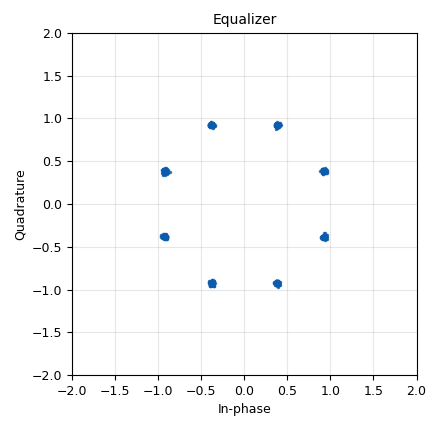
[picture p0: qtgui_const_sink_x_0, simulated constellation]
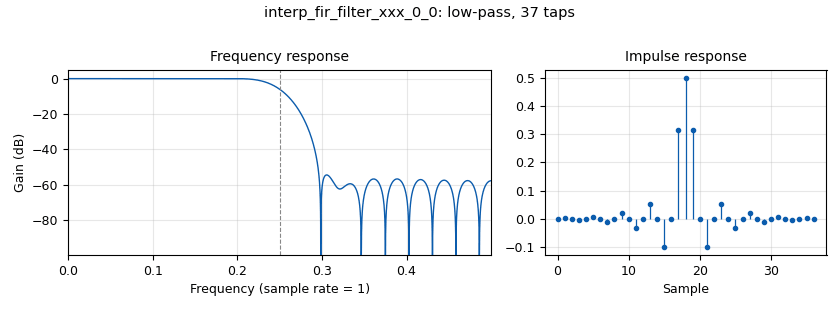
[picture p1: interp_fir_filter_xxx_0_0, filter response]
<?xml version='1.0' encoding='utf-8'?>
<?grc format='1' created='3.7.12'?>
<flow_graph>
<block>
<key>options</key>
<param><key>id</key><value>watterson_model</value></param>
<param><key>author</key><value>Garrett Vanhoy, Noel Teku</value></param>
<param><key>generate_options</key><value>qt_gui</value></param>
<param><key>title</key><value>Watterson Channel Model</value></param>
</block>
<block>
<key>variable_constellation</key>
<param><key>id</key><value>const</value></param>
<param><key>type</key><value>8psk</value></param>
<param><key>precision</key><value>8</value></param>
</block>
<block>
<key>variable</key>
<param><key>id</key><value>samp_rate</value></param>
<param><key>value</key><value>1000</value></param>
</block>
<block>
<key>analog_fastnoise_source_x</key>
<param><key>id</key><value>analog_fastnoise_source_x_0_0</value></param>
<param><key>amp</key><value>1</value></param>
<param><key>_enabled</key><value>0</value></param>
<param><key>noise_type</key><value>analog.GR_GAUSSIAN</value></param>
<param><key>type</key><value>complex</value></param>
<param><key>seed</key><value>0</value></param>
<param><key>samples</key><value>8192</value></param>
</block>
<block>
<key>analog_random_source_x</key>
<param><key>id</key><value>analog_random_source_x_0</value></param>
<param><key>_enabled</key><value>0</value></param>
<param><key>max</key><value>2</value></param>
<param><key>min</key><value>0</value></param>
<param><key>num_samps</key><value>1000</value></param>
<param><key>type</key><value>int</value></param>
<param><key>repeat</key><value>True</value></param>
</block>
<block>
<key>analog_random_source_x</key>
<param><key>id</key><value>analog_random_source_x_1</value></param>
<param><key>max</key><value>const.arity()</value></param>
<param><key>min</key><value>0</value></param>
<param><key>num_samps</key><value>1000</value></param>
<param><key>type</key><value>byte</value></param>
<param><key>repeat</key><value>True</value></param>
</block>
<block>
<key>analog_sig_source_x</key>
<param><key>id</key><value>analog_sig_source_x_0</value></param>
<param><key>amp</key><value>1</value></param>
<param><key>_enabled</key><value>0</value></param>
<param><key>freq</key><value>0</value></param>
<param><key>offset</key><value>0</value></param>
<param><key>type</key><value>complex</value></param>
<param><key>samp_rate</key><value>samp_rate</value></param>
<param><key>waveform</key><value>analog.GR_CONST_WAVE</value></param>
</block>
<block>
<key>blocks_stream_to_tagged_stream</key>
<param><key>id</key><value>blocks_stream_to_tagged_stream_0</value></param>
<param><key>_enabled</key><value>0</value></param>
<param><key>len_tag_key</key><value>"packet_len"</value></param>
<param><key>type</key><value>complex</value></param>
</block>
<block>
<key>blocks_stream_to_tagged_stream</key>
<param><key>id</key><value>blocks_stream_to_tagged_stream_1</value></param>
<param><key>len_tag_key</key><value>"packet_len"</value></param>
<param><key>packet_len</key><value>10</value></param>
<param><key>type</key><value>complex</value></param>
</block>
<block>
<key>channels_channel_model</key>
<param><key>id</key><value>channels_channel_model_0</value></param>
<param><key>epsilon</key><value>1.0</value></param>
<param><key>freq_offset</key><value>0.0</value></param>
<param><key>noise_voltage</key><value>0.01</value></param>
<param><key>seed</key><value>0</value></param>
<param><key>taps</key><value>1 + 1j</value></param>
</block>
<block>
<key>digital_chunks_to_symbols_xx</key>
<param><key>id</key><value>digital_chunks_to_symbols_xx_0</value></param>
<param><key>dimension</key><value>2</value></param>
<param><key>_enabled</key><value>0</value></param>
<param><key>in_type</key><value>int</value></param>
<param><key>out_type</key><value>complex</value></param>
</block>
<block>
<key>digital_chunks_to_symbols_xx</key>
<param><key>id</key><value>digital_chunks_to_symbols_xx_1</value></param>
<param><key>dimension</key><value>1</value></param>
<param><key>in_type</key><value>byte</value></param>
<param><key>out_type</key><value>complex</value></param>
<param><key>symbol_table</key><value>const.points()</value></param>
</block>
<block>
<key>digital_cma_equalizer_cc</key>
<param><key>id</key><value>digital_cma_equalizer_cc_0</value></param>
<param><key>_enabled</key><value>0</value></param>
<param><key>mu</key><value></value></param>
<param><key>modulus</key><value></value></param>
<param><key>num_taps</key><value></value></param>
<param><key>sps</key><value></value></param>
</block>
<block>
<key>digital_lms_dd_equalizer_cc</key>
<param><key>id</key><value>digital_lms_dd_equalizer_cc_0</value></param>
<param><key>cnst</key><value></value></param>
<param><key>_enabled</key><value>0</value></param>
<param><key>mu</key><value></value></param>
<param><key>num_taps</key><value></value></param>
<param><key>sps</key><value></value></param>
</block>
<block>
<key>digital_lms_dd_equalizer_cc</key>
<param><key>id</key><value>digital_lms_dd_equalizer_cc_1</value></param>
<param><key>cnst</key><value>const</value></param>
<param><key>mu</key><value>1</value></param>
<param><key>num_taps</key><value>2</value></param>
<param><key>sps</key><value>2</value></param>
</block>
<block>
<key>parameter</key>
<param><key>id</key><value>fj</value></param>
<param><key>label</key><value>Doppler Spread</value></param>
<param><key>value</key><value>100</value></param>
</block>
<block>
<key>import</key>
<param><key>id</key><value>import</value></param>
<param><key>import</key><value>import numpy as np</value></param>
</block>
<block>
<key>interp_fir_filter_xxx</key>
<param><key>id</key><value>interp_fir_filter_xxx_0</value></param>
<param><key>_enabled</key><value>0</value></param>
<param><key>interp</key><value>1</value></param>
<param><key>taps</key><value>[
0.673825,
0.684442,
0.695007,
0.705512,
0.71595,
0.726312,
0.736592,
0.746782,
0.756873,
0.766859,
0.77673,
0.786481,
0.796103,
0.805587,
0.814928,
0.824116,
0.833144,
0.842006,
0.850693,
0.859199,
0.867515,
0.875636,
0.883553,
0.89126,
0.898751,
0.906018,
0.913056,
0.919858,
0.926418,
0.93273,
0.938788,
0.944588,
0.950123,
0.955389,
0.96038,
0.965093,
0.969523,
0.973666,
0.977517,
0.981074,
0.984333,
0.98729,
0.989944,
0.992292,
0.994331,
0.99606,
0.997477,
0.99858,
0.999369,
0.999842,
1.0,
0.999842,
0.999369,
0.99858,
0.997477,
0.99606,
0.994331,
0.992292,
0.989944,
0.98729,
0.984333,
0.981074,
0.977517,
0.973666,
0.969523,
0.965093,
0.96038,
0.955389,
0.950123,
0.944588,
0.938788,
0.93273,
0.926418,
0.919858,
0.913056,
0.906018,
0.898751,
0.89126,
0.883553,
0.875636,
0.867515,
0.859199,
0.850693,
0.842006,
0.833144,
0.824116,
0.814928,
0.805587,
0.796103,
0.786481,
0.77673,
0.766859,
0.756873,
0.746782,
0.736592,
0.726312,
0.71595,
0.705512,
0.695007,
0.684442,
]</value></param>
<param><key>type</key><value>ccc</value></param>
</block>
<block>
<key>interp_fir_filter_xxx</key>
<param><key>id</key><value>interp_fir_filter_xxx_0_0</value></param>
<param><key>interp</key><value>2</value></param>
<param><key>taps</key><value>firdes.low_pass_2(1, 1, .25, .1, 80)</value></param>
<param><key>type</key><value>ccc</value></param>
</block>
<block>
<key>qtgui_const_sink_x</key>
<param><key>id</key><value>qtgui_const_sink_x_0</value></param>
<param><key>name</key><value>"Equalizer"</value></param>
<param><key>size</key><value>1024</value></param>
<param><key>type</key><value>complex</value></param>
</block>
<block>
<key>qtgui_freq_sink_x</key>
<param><key>id</key><value>qtgui_freq_sink_x_0</value></param>
<param><key>bw</key><value>samp_rate</value></param>
<param><key>fc</key><value>0</value></param>
<param><key>_enabled</key><value>0</value></param>
<param><key>fftsize</key><value>1024</value></param>
<param><key>showports</key><value>True</value></param>
<param><key>type</key><value>complex</value></param>
<param><key>wintype</key><value>firdes.WIN_BLACKMAN_hARRIS</value></param>
</block>
<connection><source_block_id>analog_fastnoise_source_x_0_0</source_block_id><sink_block_id>interp_fir_filter_xxx_0</sink_block_id><source_key>0</source_key><sink_key>0</sink_key></connection>
<connection><source_block_id>analog_random_source_x_0</source_block_id><sink_block_id>digital_chunks_to_symbols_xx_0</sink_block_id><source_key>0</source_key><sink_key>0</sink_key></connection>
<connection><source_block_id>analog_random_source_x_1</source_block_id><sink_block_id>digital_chunks_to_symbols_xx_1</sink_block_id><source_key>0</source_key><sink_key>0</sink_key></connection>
<connection><source_block_id>analog_sig_source_x_0</source_block_id><sink_block_id>interp_fir_filter_xxx_0</sink_block_id><source_key>0</source_key><sink_key>0</sink_key></connection>
<connection><source_block_id>blocks_stream_to_tagged_stream_0</source_block_id><sink_block_id>interp_fir_filter_xxx_0</sink_block_id><source_key>0</source_key><sink_key>0</sink_key></connection>
<connection><source_block_id>blocks_stream_to_tagged_stream_1</source_block_id><sink_block_id>interp_fir_filter_xxx_0_0</sink_block_id><source_key>0</source_key><sink_key>0</sink_key></connection>
<connection><source_block_id>channels_channel_model_0</source_block_id><sink_block_id>digital_lms_dd_equalizer_cc_1</sink_block_id><source_key>0</source_key><sink_key>0</sink_key></connection>
<connection><source_block_id>digital_chunks_to_symbols_xx_0</source_block_id><sink_block_id>blocks_stream_to_tagged_stream_0</sink_block_id><source_key>0</source_key><sink_key>0</sink_key></connection>
<connection><source_block_id>digital_chunks_to_symbols_xx_1</source_block_id><sink_block_id>blocks_stream_to_tagged_stream_1</sink_block_id><source_key>0</source_key><sink_key>0</sink_key></connection>
<connection><source_block_id>digital_lms_dd_equalizer_cc_1</source_block_id><sink_block_id>qtgui_const_sink_x_0</sink_block_id><source_key>0</source_key><sink_key>0</sink_key></connection>
<connection><source_block_id>interp_fir_filter_xxx_0</source_block_id><sink_block_id>digital_lms_dd_equalizer_cc_0</sink_block_id><source_key>0</source_key><sink_key>0</sink_key></connection>
<connection><source_block_id>interp_fir_filter_xxx_0</source_block_id><sink_block_id>qtgui_freq_sink_x_0</sink_block_id><source_key>0</source_key><sink_key>0</sink_key></connection>
<connection><source_block_id>interp_fir_filter_xxx_0_0</source_block_id><sink_block_id>channels_channel_model_0</sink_block_id><source_key>0</source_key><sink_key>0</sink_key></connection>
</flow_graph>
